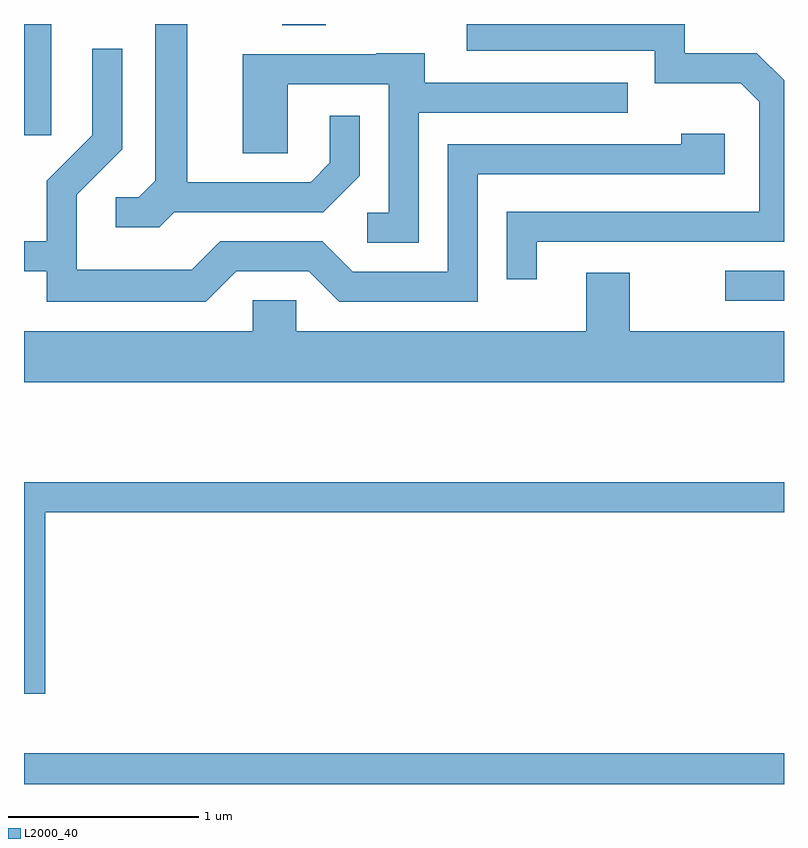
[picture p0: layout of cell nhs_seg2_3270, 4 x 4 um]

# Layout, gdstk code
import gdstk
lib = gdstk.Library(unit=1e-6, precision=1e-09)
def R(c, l, rs):  # rectangles x0, y0, x1, y1
    for r in rs: c.add(gdstk.rectangle(r[:2], r[2:], *l))
def P(c, l, *ps):  # polygons
    for p in ps: c.add(gdstk.Polygon(p, *l))
L2000_40 = (2000, 40)

nhs_seg2_3270 = lib.new_cell('nhs_seg2_3270')
R(nhs_seg2_3270, L2000_40, [(281.611,1001.802,285.611,1001.964), (285.303,1004.346,285.611,1004.504), (281.611,1005.216,281.754,1005.802), (282.971,1005.796,283.199,1005.802)])
P(nhs_seg2_3270, L2000_40, [(282.402,1004.811),(283.187,1004.811),(283.379,1005.004),(283.379,1005.318),(283.221,1005.318),(283.221,1005.072),(283.119,1004.969),(282.469,1004.969),(282.469,1005.802),(282.301,1005.802),(282.301,1004.977),(282.214,1004.889),(282.093,1004.889),(282.093,1004.731),(282.322,1004.731)],
  [(284.309,1004.656),(285.611,1004.656),(285.611,1005.505),(285.467,1005.649),(285.089,1005.649),(285.089,1005.802),(283.941,1005.802),(283.941,1005.661),(284.931,1005.661),(284.931,1005.491),(285.384,1005.491),(285.481,1005.394),(285.481,1004.814),(284.151,1004.814),(284.151,1004.458),(284.309,1004.458)],
  [(282.727,1004.501),(283.109,1004.501),(283.269,1004.341),(283.999,1004.341),(283.999,1005.011),(285.299,1005.011),(285.299,1005.224),(285.071,1005.224),(285.071,1005.169),(283.841,1005.169),(283.841,1004.499),(283.342,1004.499),(283.182,1004.659),(282.644,1004.659),(282.494,1004.509),(281.889,1004.509),(281.889,1004.904),(282.129,1005.144),(282.129,1005.673),(281.971,1005.673),(281.971,1005.217),(281.731,1004.977),(281.731,1004.659),(281.611,1004.659),(281.611,1004.501),(281.731,1004.501),(281.731,1004.341),(282.567,1004.341)],
  [(283.689,1005.336),(284.788,1005.336),(284.788,1005.494),(283.719,1005.494),(283.719,1005.649),(283.465,1005.649),(283.465,1005.644),(282.761,1005.644),(282.761,1005.121),(282.999,1005.121),(282.999,1005.486),(283.531,1005.486),(283.531,1004.809),(283.418,1004.809),(283.418,1004.651),(283.689,1004.651)],
  [(285.611,1004.184),(284.799,1004.184),(284.799,1004.494),(284.571,1004.494),(284.571,1004.184),(283.044,1004.184),(283.044,1004.349),(282.816,1004.349),(282.816,1004.184),(281.611,1004.184),(281.611,1003.916),(285.611,1003.916)],
  [(281.724,1003.231),(285.611,1003.231),(285.611,1003.389),(281.611,1003.389),(281.611,1002.276),(281.724,1002.276)])

lib.write_gds('nhs_seg2_3270.gds')
